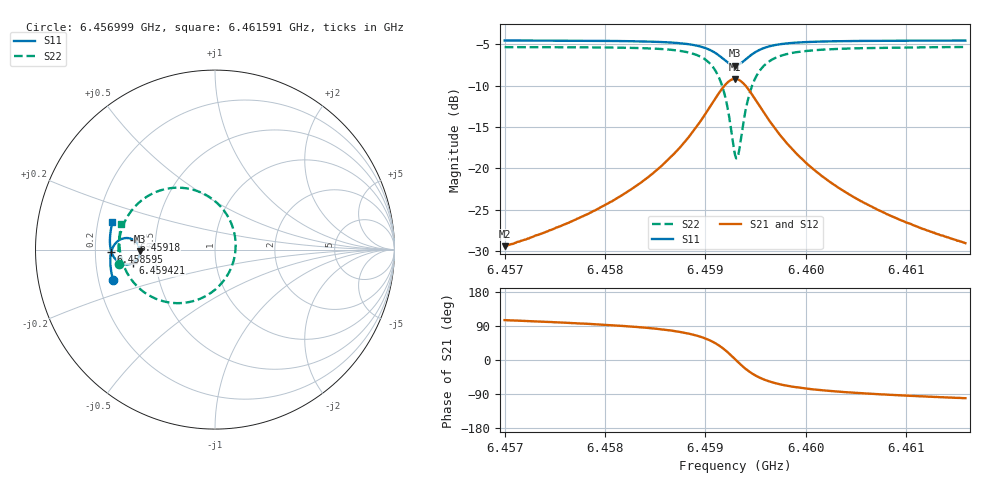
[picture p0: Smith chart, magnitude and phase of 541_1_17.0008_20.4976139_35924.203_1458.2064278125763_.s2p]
#  HZ  S  RI  R  50.00
! Rohde & Schwarz Vector Network Analyzer
! Rohde-Schwarz,ZNB20-2Port,1311601062101988,3.16
! Created: UTC 3/20/2024, 11:16:18 PM
! freq[Hz]  re:S11  im:S11  re:S21  im:S21  re:S12  im:S12  re:S22  im:S22
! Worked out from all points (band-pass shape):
!   401 points, 6.456999 GHz to 6.461591 GHz, reference 50 ohm
!   highest |S21| = -9.20 dB at 6.459295 GHz (marker M1); lowest = -29.4 dB at 6.456999 GHz (marker M2)
!   |S21| within 3 dB of the highest: 6.459066 GHz to 6.459525 GHz (458.9 kHz wide, 0.0071 % of centre)
!   lowest |S11| = -7.6 dB at 6.459295 GHz (marker M3), VSWR 2.43, Z = 20.5 - j0.455 ohm
!   |S11| at or under -10 dB: nowhere
!   |S22| runs from -18.8 to -5.3 dB; largest |S21 - S12| = 0.014
!   S11 on the Smith chart (normalised r, x): 6.456999 GHz: 0.26, -0.14; 6.458595 GHz: 0.27, -0.01; 6.45918 GHz: 0.37, +0.05; 6.459421 GHz: 0.37, -0.07; 6.461591 GHz: 0.26, +0.12
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6.4569995e9  -0.5671 -0.1705  -0.00888 0.0326  -0.00707 0.0325  -0.5332 -0.0829
6.4577686e9  -0.581 -0.1032  -0.00552 0.0506  -0.00293 0.0499  -0.5381 0.00737
6.4581588e9  -0.5837 -0.0644  -0.000188 0.068  0.003 0.0666  -0.531 0.0686
6.4585376e9  -0.5798 -0.0194  0.0144 0.0988  0.0185 0.0962  -0.5041 0.1527
6.458595e9  -0.578 -0.0114  0.0188 0.1059  0.0229 0.1027  -0.4958 0.1692
6.4588016e9  -0.565 0.0206  0.0465 0.1382  0.0507 0.1333  -0.4439 0.242
6.4589509e9  -0.5422 0.0468  0.0919 0.1688  0.0951 0.1621  -0.3601 0.3064
6.4590886e9  -0.4982 0.0644  0.1795 0.1851  0.1803 0.1779  -0.2 0.345
6.4591804e9  -0.4536 0.0541  0.2693 0.1538  0.2697 0.1479  -0.0328 0.2942
6.4592493e9  -0.4245 0.022  0.3303 0.0816  0.3324 0.0764  0.083 0.1637
6.4592952e9  -0.4176 -0.00915  0.3465 0.0134  0.3502 0.00651  0.115 0.036
6.4593067e9  -0.418 -0.0173  0.3463 -0.00464  0.3502 -0.0122  0.1147 0.00226
6.4593297e9  -0.4216 -0.0329  0.3406 -0.0394  0.3445 -0.0484  0.1033 -0.064
6.4593756e9  -0.4374 -0.0591  0.3118 -0.0993  0.3141 -0.1114  0.045 -0.1776
6.4594215e9  -0.4594 -0.0754  0.2695 -0.1405  0.2687 -0.1538  -0.0408 -0.2525
6.4595133e9  -0.5028 -0.0823  0.1842 -0.1716  0.1781 -0.1831  -0.2109 -0.2984
6.4596625e9  -0.5469 -0.0617  0.096 -0.1574  0.0875 -0.1635  -0.3791 -0.2481
6.4598232e9  -0.5684 -0.034  0.0512 -0.1293  0.0435 -0.1321  -0.4595 -0.1753
6.4600643e9  -0.581 0.00177  0.022 -0.0976  0.0163 -0.0981  -0.5073 -0.0925
6.4604431e9  -0.5856 0.0464  0.00512 -0.0687  0.00129 -0.0681  -0.5296 -0.00669
6.4608334e9  -0.5835 0.0854  -0.00165 -0.0519  -0.00439 -0.0512  -0.5327 0.0552
6.461591e9  -0.5712 0.1525  -0.00655 -0.0346  -0.00827 -0.0338  -0.521 0.1448
